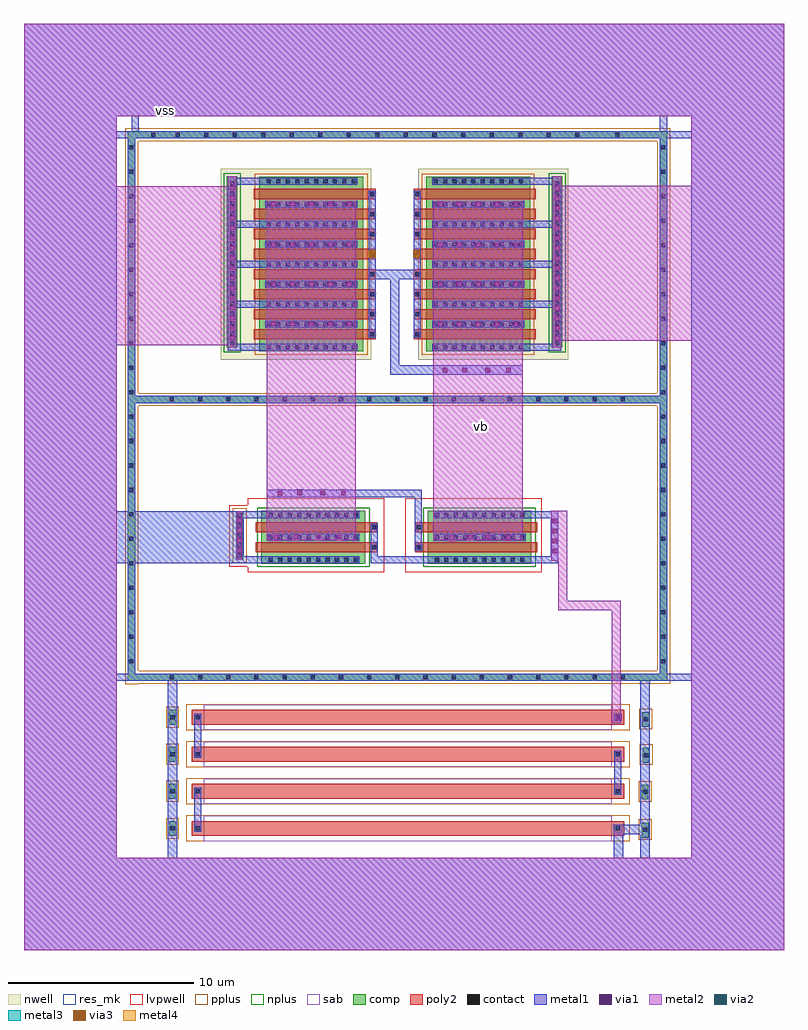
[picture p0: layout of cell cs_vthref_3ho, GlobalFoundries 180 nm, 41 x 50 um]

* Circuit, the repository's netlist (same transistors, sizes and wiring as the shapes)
** sch_path: /home/keropiyo/cs_vthref_3ho.sch
.subckt TOP VSS VDD vb
*.PININFO VSS:B VDD:B vb:O
M4 vb vb VDD VDD pfet_03v3 L=0.56u W=5.6u nf=1 m=8
M3 net2 vb VDD VDD pfet_03v3 L=0.56u W=5.6u nf=1 m=8
M2 vb net2 net1 net1 nfet_03v3_dn L=0.56u W=5.6u nf=1 m=2
M1 net2 net1 VSS VSS nfet_03v3_dn L=0.56u W=5.6u nf=1 m=2
R3 net5 net4 VSS ppolyf_u W=0.8e-6 L=22e-6 m=1
R4 VSS net5 VSS ppolyf_u W=0.8e-6 L=22e-6 m=1
R1 net3 net1 VSS ppolyf_u W=0.8e-6 L=22e-6 m=1
R2 net4 net3 VSS ppolyf_u W=0.8e-6 L=22e-6 m=1
.ends
.end

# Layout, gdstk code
from math import pi, radians
import gdstk
lib = gdstk.Library(unit=1e-6, precision=5e-09)
def R(c, l, rs):  # rectangles x0, y0, x1, y1
    for r in rs: c.add(gdstk.rectangle(r[:2], r[2:], *l))
def A(c, l, x, y, w, h, nx, ny, dx, dy):  # array of equal rectangles
    R(c, l, [(x+i*dx, y+j*dy, x+i*dx+w, y+j*dy+h) for i in range(nx) for j in range(ny)])
def P(c, l, *ps):  # polygons
    for p in ps: c.add(gdstk.Polygon(p, *l))
nwell = (21, 0)
comp = (22, 0)
poly2 = (30, 0)
pplus = (31, 0)
nplus = (32, 0)
contact = (33, 0)
metal1 = (34, 0)
via1 = (35, 0)
metal2 = (36, 0)
via2 = (38, 0)
via3 = (40, 0)
metal3 = (42, 0)
metal4 = (46, 0)
sab = (49, 0)
res_mk = (110, 5)
lvpwell = (204, 0)

cnt = lib.new_cell('CNT')

bgp = lib.new_cell('BGP')
P(bgp, nwell, [(-0.815,-5.15),(-0.815,5.15),(0.82,5.15),(0.82,3.28),(0.82,-5.15)])
R(bgp, comp, [(-0.495,-4.49,0.065,4.735)])
R(bgp, nplus, [(-0.675,-4.75,0.245,4.9)])
A(bgp, contact, -0.325, -4.375, 0.22, 0.22, 1, 17, 0, 0.54)
R(bgp, metal1, [(-0.45,-4.49,0.015,4.735)])
R(bgp, metal2, [(-0.45,-4.49,0.015,4.735)])

via1_ = lib.new_cell('VIA1')

via10 = lib.new_cell('VIA10')
R(via10, via1, [(-0.13,-0.13,0.13,0.13)])

ml1 = lib.new_cell('ML1')
R(ml1, metal1, [(-0.78,-0.19,0.78,0.19)])

ml1_0 = lib.new_cell('ML1_0')
R(ml1_0, metal1, [(-1.01,-0.19,1.015,0.19)])

cnt_g = lib.new_cell('CNT_G')

cnt_g2 = lib.new_cell('CNT_G2')

cnt_g3 = lib.new_cell('CNT_G3')
R(cnt_g3, contact, [(-1.225,14.175,-1.005,14.395)])

via11 = lib.new_cell('VIA11')

m1m2 = lib.new_cell('M1M2')

m1m22 = lib.new_cell('M1M22')

m1m23 = lib.new_cell('M1M23')

m1m24 = lib.new_cell('M1M24')

m1m25 = lib.new_cell('M1M25')

m1m26 = lib.new_cell('M1M26')

m1m27 = lib.new_cell('M1M27')

m1m28 = lib.new_cell('M1M28')

m1m29 = lib.new_cell('M1M29')

m1m30 = lib.new_cell('M1M30')

m1m31 = lib.new_cell('M1M31')

cnt3 = lib.new_cell('CNT3')

cnt4 = lib.new_cell('CNT4')
R(cnt4, contact, [(-0.11,-0.11,0.11,0.11)])

m1m2g = lib.new_cell('M1M2G')
R(m1m2g, metal1, [(-0.5,-0.5,0.5,0.5)])
R(m1m2g, metal2, [(-0.5,-0.5,0.5,0.5)])

m1m2g0 = lib.new_cell('M1M2G0')
R(m1m2g0, metal1, [(-0.5,-0.5,0.5,0.5)])
R(m1m2g0, metal2, [(-0.5,-0.5,0.5,0.5)])

cnt0 = lib.new_cell('CNT0')
R(cnt0, contact, [(-0.11,-0.11,0.11,0.11)])

cs_vthref_3ho = lib.new_cell('cs_vthref_3ho')
R(cs_vthref_3ho, nwell, [(-7.74,-10.13,-1.26,0.17), (1.26,-10.13,7.74,0.17)])
A(cs_vthref_3ho, comp, -12.17, -35.82, 0.36, 0.8, 1, 4, 0, 2)
R(cs_vthref_3ho, comp, [(13.325,-33.855,13.69,-33.055), (13.375,-31.87,13.74,-31.07), (13.355,-29.945,13.72,-29.145), (-7.19,-21.14,-1.59,-20.72), (1.775,-21.14,7.375,-20.72), (-8.555,-20.92,-8.175,-18.3), (-7.19,-20.72,-1.59,-18.7), (1.775,-20.72,7.375,-18.7), (-7.19,-18.7,-1.59,-18.28), (1.775,-18.7,7.375,-18.28), (-7.3,-9.69,-1.7,-9.23), (1.7,-9.69,7.3,-9.23), (-7.3,-9.23,-1.7,-0.73), (1.7,-9.23,7.3,-0.73), (-7.3,-0.73,-1.7,-0.27), (1.7,-0.73,7.3,-0.27)])
P(cs_vthref_3ho, comp, [(13.325,-35.91),(13.325,-35.38),(13.325,-35.11),(13.695,-35.11),(13.695,-35.91)])
A(cs_vthref_3ho, poly2, -10.95, -35.82, 23.32, 0.8, 1, 4, 0, 2)
A(cs_vthref_3ho, poly2, -7.6, -9.04, 6.2, 0.56, 1, 8, 0, 1.08)
A(cs_vthref_3ho, poly2, -1.4, -9.04, 0.38, 0.56, 1, 8, 0, 1.08)
A(cs_vthref_3ho, poly2, 1.02, -9.04, 0.38, 0.56, 1, 8, 0, 1.08)
A(cs_vthref_3ho, poly2, 1.4, -9.04, 6.2, 0.56, 1, 8, 0, 1.08)
R(cs_vthref_3ho, poly2, [(-7.49,-20.53,-1.29,-19.97), (-1.29,-20.53,-0.93,-19.97), (1.115,-20.53,1.475,-19.97), (1.475,-20.53,7.675,-19.97), (-7.49,-19.45,-1.29,-18.89), (-1.29,-19.45,-0.93,-18.89), (1.115,-19.45,1.475,-18.89), (1.475,-19.45,7.675,-18.89)])
A(cs_vthref_3ho, pplus, -11.25, -36.12, 23.92, 1.4, 1, 4, 0, 2)
A(cs_vthref_3ho, pplus, -12.33, -35.98, 0.68, 1.12, 1, 4, 0, 2)
R(cs_vthref_3ho, pplus, [(13.165,-36.035,13.865,-34.92), (13.16,-33.98,13.86,-32.865), (13.21,-31.995,13.91,-30.88), (13.19,-30.07,13.89,-28.955), (-8.745,-21.09,-7.995,-18.14), (-7.54,-9.86,-1.46,-0.1), (1.46,-9.86,7.54,-0.1)])
R(cs_vthref_3ho, nplus, [(-7.43,-21.31,-1.35,-18.11), (1.535,-21.31,7.615,-18.11)])
A(cs_vthref_3ho, contact, -12.1, -35.53, 0.22, 0.22, 1, 4, 0, 2)
A(cs_vthref_3ho, contact, -10.73, -35.53, 0.22, 0.22, 1, 4, 0, 2)
A(cs_vthref_3ho, contact, 11.93, -35.53, 0.22, 0.22, 1, 4, 0, 2)
A(cs_vthref_3ho, contact, -6.795, -21.04, 0.22, 0.22, 10, 3, 0.51, 1.22)
A(cs_vthref_3ho, contact, 2.17, -21.04, 0.22, 0.22, 10, 3, 0.51, 1.22)
A(cs_vthref_3ho, contact, -8.485, -20.805, 0.22, 0.22, 1, 5, 0, 0.54)
A(cs_vthref_3ho, contact, -6.905, -9.57, 0.22, 0.22, 10, 2, 0.51, 1.24)
A(cs_vthref_3ho, contact, 2.095, -9.57, 0.22, 0.22, 10, 2, 0.51, 1.24)
A(cs_vthref_3ho, contact, -1.32, -8.87, 0.22, 0.22, 1, 8, 0, 1.08)
A(cs_vthref_3ho, contact, 1.1, -8.87, 0.22, 0.22, 1, 8, 0, 1.08)
A(cs_vthref_3ho, contact, -6.905, -7.25, 0.22, 0.22, 10, 6, 0.51, 1.08)
A(cs_vthref_3ho, contact, 2.095, -7.25, 0.22, 0.22, 10, 6, 0.51, 1.08)
A(cs_vthref_3ho, contact, -6.905, -0.61, 0.22, 0.22, 10, 1, 0.51, 0)
A(cs_vthref_3ho, contact, 2.095, -0.61, 0.22, 0.22, 10, 1, 0.51, 0)
R(cs_vthref_3ho, contact, [(13.405,-35.61,13.625,-35.39), (13.4,-33.555,13.62,-33.335), (13.45,-31.57,13.67,-31.35), (13.43,-29.65,13.65,-29.43), (-1.22,-20.36,-1,-20.14), (1.185,-20.36,1.405,-20.14), (-1.22,-19.28,-1,-19.06), (1.185,-19.28,1.405,-19.06), (-13.14,1.89,-12.92,2.11), (11.9,1.89,12.12,2.11)])
A(cs_vthref_3ho, metal1, -12.18, -35.61, 0.38, 0.38, 1, 4, 0, 2)
A(cs_vthref_3ho, metal1, -10.81, -35.61, 0.38, 0.38, 1, 4, 0, 2)
A(cs_vthref_3ho, metal1, 11.85, -35.61, 0.38, 0.38, 1, 4, 0, 2)
A(cs_vthref_3ho, metal1, -6.875, -21.12, 4.97, 0.38, 1, 3, 0, 1.22)
A(cs_vthref_3ho, metal1, 2.09, -21.12, 4.97, 0.38, 1, 3, 0, 1.22)
A(cs_vthref_3ho, metal1, -1.4, -8.95, 0.38, 0.38, 1, 8, 0, 1.08)
A(cs_vthref_3ho, metal1, 1.02, -8.95, 0.38, 0.38, 1, 8, 0, 1.08)
A(cs_vthref_3ho, metal1, -6.985, -8.41, 4.97, 0.38, 1, 7, 0, 1.08)
A(cs_vthref_3ho, metal1, 2.015, -8.41, 4.97, 0.38, 1, 7, 0, 1.08)
R(cs_vthref_3ho, metal1, [(13.335,-35.675,13.715,-35.295), (13.33,-33.62,13.71,-33.24), (13.38,-31.635,13.76,-31.255), (13.36,-29.71,13.74,-29.33), (11.84,-29.62,12.24,-29.22), (-15,-21.125,-8.61,-18.3), (-9.01,-21.125,-6.87,-20.745), (7.06,-21.12,8.81,-20.74), (8.425,-20.955,8.81,-18.285), (-8.61,-20.92,-8.145,-18.3), (-1.3,-20.44,-0.92,-20.06), (1.105,-20.44,1.485,-20.06), (2.88,-19.925,3.28,-19.525), (5.93,-19.91,6.33,-19.51), (-6.61,-19.905,-6.21,-19.505), (-4.31,-19.9,-3.91,-19.5), (-3.185,-19.9,-2.785,-19.5), (3.87,-19.9,4.27,-19.5), (-5.55,-19.89,-5.15,-19.49), (4.84,-19.88,5.24,-19.48), (-1.3,-19.36,-0.92,-18.98), (1.105,-19.36,1.485,-18.98), (-9.06,-18.68,-6.875,-18.3), (7.06,-18.68,8.8,-18.3), (-6.385,-17.53,-5.985,-17.13), (-4.085,-17.525,-3.685,-17.125), (-2.96,-17.525,-2.56,-17.125), (-5.325,-17.515,-4.925,-17.115), (2.515,-10.905,2.915,-10.505), (4.815,-10.9,5.215,-10.5), (5.94,-10.9,6.34,-10.5), (3.575,-10.89,3.975,-10.49), (-6.985,-9.65,-2.015,-9.27), (2.015,-9.65,6.985,-9.27), (-1.4,-8.95,-1.02,-1.01), (1.02,-8.95,1.4,-1.01), (-1.415,-4.64,-1.015,-4.24), (0.99,-4.635,1.39,-4.235), (-6.985,-0.69,-2.015,-0.31), (2.015,-0.69,6.985,-0.31)])
A(cs_vthref_3ho, via1, 8.5, -20.58, 0.26, 0.26, 1, 4, 0, 0.54)
A(cs_vthref_3ho, via1, -8.5, -20.545, 0.26, 0.26, 1, 4, 0, 0.54)
A(cs_vthref_3ho, via1, -8.9, -9.095, 0.26, 0.26, 1, 16, 0, 0.54)
A(cs_vthref_3ho, via1, 2.33, -8.35, 0.26, 0.26, 5, 2, 1.02, 2.15)
A(cs_vthref_3ho, via1, -6.67, -8.34, 0.26, 0.26, 5, 2, 1.02, 2.15)
A(cs_vthref_3ho, via1, 2.33, -4.075, 0.26, 0.26, 5, 2, 1.02, 2.2)
A(cs_vthref_3ho, via1, -6.67, -4.065, 0.26, 0.26, 5, 2, 1.02, 2.2)
R(cs_vthref_3ho, via1, [(11.91,-29.55,12.17,-29.29), (2.95,-19.855,3.21,-19.595), (6,-19.84,6.26,-19.58), (-6.54,-19.835,-6.28,-19.575), (-4.24,-19.83,-3.98,-19.57), (-3.115,-19.83,-2.855,-19.57), (3.94,-19.83,4.2,-19.57), (-5.48,-19.82,-5.22,-19.56), (4.91,-19.81,5.17,-19.55), (-6.315,-17.46,-6.055,-17.2), (-4.015,-17.455,-3.755,-17.195), (-2.89,-17.455,-2.63,-17.195), (-5.255,-17.445,-4.995,-17.185), (2.585,-10.835,2.845,-10.575), (4.885,-10.83,5.145,-10.57), (6.01,-10.83,6.27,-10.57), (3.645,-10.82,3.905,-10.56), (-1.345,-4.57,-1.085,-4.31), (1.06,-4.565,1.32,-4.305)])
R(cs_vthref_3ho, metal2, [(11.84,-29.62,12.24,-29.22), (8.445,-20.97,8.81,-18.28), (-8.52,-20.915,-8.22,-18.3), (2.88,-19.925,3.28,-19.525), (5.93,-19.91,6.33,-19.51), (-6.61,-19.905,-6.21,-19.505), (-4.31,-19.9,-3.91,-19.5), (-3.185,-19.9,-2.785,-19.5), (3.87,-19.9,4.27,-19.5), (-5.55,-19.89,-5.15,-19.49), (-6.91,-19.88,-2.095,-1.55), (2.09,-19.88,6.905,-1.555), (4.84,-19.88,5.24,-19.48), (-6.385,-17.53,-5.985,-17.13), (-4.085,-17.525,-3.685,-17.125), (-2.96,-17.525,-2.56,-17.125), (-5.325,-17.515,-4.925,-17.115), (2.515,-10.905,2.915,-10.505), (4.815,-10.9,5.215,-10.5), (5.94,-10.9,6.34,-10.5), (3.575,-10.89,3.975,-10.49), (-15,-9.34,-9.01,-0.765), (8.995,-9.11,16,-0.735), (-1.415,-4.64,-1.015,-4.24), (0.99,-4.635,1.39,-4.235)])
R(cs_vthref_3ho, via2, [(-1.345,-4.57,-1.085,-4.31), (1.06,-4.565,1.32,-4.305)])
R(cs_vthref_3ho, via3, [(-1.345,-4.57,-1.085,-4.31), (1.06,-4.565,1.32,-4.305)])
R(cs_vthref_3ho, metal3, [(-1.415,-4.64,-1.015,-4.24), (0.99,-4.635,1.39,-4.235)])
R(cs_vthref_3ho, metal4, [(-1.415,-4.64,-1.015,-4.24), (0.99,-4.635,1.39,-4.235)])
A(cs_vthref_3ho, sab, -10.29, -36.1, 22, 1.36, 1, 4, 0, 2)
A(cs_vthref_3ho, res_mk, -10.29, -35.82, 22, 0.8, 1, 4, 0, 2)
R(cs_vthref_3ho, lvpwell, [(-7.94,-21.6,-0.56,-17.6), (0.56,-21.6,7.94,-17.6), (-8.92,-21.29,-7.94,-17.995)])
cs_vthref_3ho.add(gdstk.FlexPath([(-18,-40),(-18,6),(19,6),(19,-40),(-20,-40)], 4, ends="flush", simple_path=True, layer=34, datatype=0))  # metal1
cs_vthref_3ho.add(gdstk.FlexPath([(14.5,-27.085),(14.5,2)], 0.38, ends="flush", simple_path=True, layer=34, datatype=0))  # metal1
cs_vthref_3ho.add(gdstk.FlexPath([(14.5,-27.275),(16.005,-27.275)], 0.38, ends="flush", simple_path=True, layer=34, datatype=0))  # metal1
cs_vthref_3ho.add(gdstk.FlexPath([(14.5,-27.275),(-13.49,-27.275)], 0.38, ends="flush", simple_path=True, layer=34, datatype=0))  # metal1
cs_vthref_3ho.add(gdstk.FlexPath([(-13.49,2),(14.69,2)], 0.38, ends="flush", simple_path=True, layer=34, datatype=0))  # metal1
cs_vthref_3ho.add(gdstk.FlexPath([(14.69,2),(16,2)], 0.38, ends="flush", simple_path=True, layer=34, datatype=0))  # metal1
cs_vthref_3ho.add(gdstk.FlexPath([(-13.49,2),(-15,2)], 0.38, ends="flush", simple_path=True, layer=34, datatype=0))  # metal1
cs_vthref_3ho.add(gdstk.FlexPath([(-13.49,-27.275),(-15,-27.275)], 0.38, ends="flush", simple_path=True, layer=34, datatype=0))  # metal1
cs_vthref_3ho.add(gdstk.FlexPath([(14.5,-12.28),(-14.01,-12.28)], 0.38, ends="flush", simple_path=True, layer=34, datatype=0))  # metal1
cs_vthref_3ho.add(gdstk.FlexPath([(-14.2,-27.085),(-14.2,2.19)], 0.38, ends="flush", simple_path=True, layer=34, datatype=0))  # metal1
cs_vthref_3ho.add(gdstk.FlexPath([(-13.995,2.19),(-13.995,3)], 0.38, ends="flush", simple_path=True, layer=34, datatype=0))  # metal1
cs_vthref_3ho.add(gdstk.FlexPath([(14.5,2.19),(14.5,3)], 0.38, ends="flush", simple_path=True, layer=34, datatype=0))  # metal1
cs_vthref_3ho.add(gdstk.FlexPath([(-1.115,-18.985),(-1.115,-20.93),(2.09,-20.93)], 0.38, ends="flush", simple_path=True, layer=34, datatype=0))  # metal1
cs_vthref_3ho.add(gdstk.FlexPath([(-11.99,-27.46),(-11.99,-37.005)], 0.5, ends="flush", simple_path=True, layer=34, datatype=0))  # metal1
cs_vthref_3ho.add(gdstk.FlexPath([(13.505,-27.425),(13.505,-37)], 0.5, ends="flush", simple_path=True, layer=34, datatype=0))  # metal1
cs_vthref_3ho.add(gdstk.FlexPath([(12.265,-35.48),(13.29,-35.48)], 0.5, ends="flush", simple_path=True, layer=34, datatype=0))  # metal1
cs_vthref_3ho.add(gdstk.FlexPath([(12.065,-35.23),(12.065,-37.08)], 0.5, ends="flush", simple_path=True, layer=34, datatype=0))  # metal1
cs_vthref_3ho.add(gdstk.FlexPath([(-1.02,-5.54),(1.02,-5.54)], 0.5, ends="flush", simple_path=True, layer=34, datatype=0))  # metal1
cs_vthref_3ho.add(gdstk.FlexPath([(0,-5.79),(0,-10.69),(6.905,-10.69)], 0.5, ends="flush", simple_path=True, layer=34, datatype=0))  # metal1
cs_vthref_3ho.add(gdstk.FlexPath([(-10.625,-29.61),(-10.625,-31.235)], 0.38, ends="flush", simple_path=True, layer=34, datatype=0))  # metal1
cs_vthref_3ho.add(gdstk.FlexPath([(12.04,-31.61),(12.04,-33.61)], 0.38, ends="flush", simple_path=True, layer=34, datatype=0))  # metal1
cs_vthref_3ho.add(gdstk.FlexPath([(-10.62,-33.61),(-10.62,-35.14),(-10.62,-35.23)], 0.38, ends="flush", simple_path=True, layer=34, datatype=0))  # metal1
cs_vthref_3ho.add(gdstk.FlexPath([(1.275,-20.43),(1.275,-17.35),(-6.9,-17.35)], 0.38, ends="flush", simple_path=True, layer=34, datatype=0))  # metal1
cs_vthref_3ho.add(gdstk.FlexPath([(14.5,2),(14.5,-27.465)], 0.38, ends="flush", simple_path=True, layer=22, datatype=0))  # comp
cs_vthref_3ho.add(gdstk.FlexPath([(14.5,-27.275),(-14.39,-27.275)], 0.38, ends="flush", simple_path=True, layer=22, datatype=0))  # comp
cs_vthref_3ho.add(gdstk.FlexPath([(-14.19,2),(14.69,2)], 0.38, ends="flush", simple_path=True, layer=22, datatype=0))  # comp
cs_vthref_3ho.add(gdstk.FlexPath([(14.5,-12.28),(-14.01,-12.28)], 0.38, ends="flush", simple_path=True, layer=22, datatype=0))  # comp
cs_vthref_3ho.add(gdstk.FlexPath([(14.5,-12.28),(-14.01,-12.28)], 0.38, ends="flush", simple_path=True, layer=22, datatype=0))  # comp
cs_vthref_3ho.add(gdstk.FlexPath([(-14.2,2.19),(-14.2,-27.085)], 0.38, ends="flush", simple_path=True, layer=22, datatype=0))  # comp
cs_vthref_3ho.add(gdstk.FlexPath([(-18,-40),(-18,6),(19,6),(19,-40),(-20,-40)], 4, ends="flush", simple_path=True, layer=36, datatype=0))  # metal2
cs_vthref_3ho.add(gdstk.FlexPath([(9.06,-18.28),(9.06,-23.395),(11.945,-23.395),(11.945,-29.755)], 0.5, ends="flush", simple_path=True, layer=36, datatype=0))  # metal2
cs_vthref_3ho.add(gdstk.FlexPath([(14.5,2.35),(14.5,-27.455)], 0.7, ends="flush", simple_path=True, layer=31, datatype=0))  # pplus
cs_vthref_3ho.add(gdstk.FlexPath([(14.85,-27.275),(-14.55,-27.275)], 0.7, ends="flush", simple_path=True, layer=31, datatype=0))  # pplus
cs_vthref_3ho.add(gdstk.FlexPath([(14.5,-12.28),(-14.01,-12.28)], 0.7, ends="flush", simple_path=True, layer=31, datatype=0))  # pplus
cs_vthref_3ho.add(gdstk.FlexPath([(-14.2,2.19),(-14.2,-27.63)], 0.7, ends="flush", simple_path=True, layer=31, datatype=0))  # pplus
cs_vthref_3ho.add(gdstk.FlexPath([(14.69,2),(-14.55,2)], 0.7, ends="flush", simple_path=True, layer=31, datatype=0))  # pplus
r = gdstk.Reference(cnt, (-8.775,-9.245)); r.repetition = gdstk.Repetition(1, 17, v1=(0,0), v2=(0,0.54)); cs_vthref_3ho.add(r)
cs_vthref_3ho.add(gdstk.Reference(bgp, (-8.56,-4.98)))
cs_vthref_3ho.add(gdstk.Reference(bgp, (8.545,-4.98), rotation=pi, x_reflection=True))
r = gdstk.Reference(via1_, (-8.78,-8.975)); r.repetition = gdstk.Repetition(1, 16, v1=(0,0), v2=(0,0.54)); cs_vthref_3ho.add(r)
cs_vthref_3ho.add(gdstk.Reference(via1_, (8.76,-8.975)))
r = gdstk.Reference(via10, (8.76,-8.975)); r.repetition = gdstk.Repetition(1, 16, v1=(0,0), v2=(0,0.54)); cs_vthref_3ho.add(r)
r = gdstk.Reference(ml1, (-7.765,-7.14)); r.repetition = gdstk.Repetition(2, 3, v1=(15.52,0), v2=(0,2.16)); cs_vthref_3ho.add(r)
r = gdstk.Reference(ml1_0, (-8,-9.46)); r.repetition = gdstk.Repetition(2, 2, v1=(15.98,0), v2=(0,8.96)); cs_vthref_3ho.add(r)
r = gdstk.Reference(cnt_g, (-12,-18.5)); r.repetition = gdstk.Repetition(2, 14, v1=(24,0), v2=(0,1.54)); cs_vthref_3ho.add(r)
r = gdstk.Reference(cnt_g2, (-10.575,-19.01)); r.repetition = gdstk.Repetition(15, 2, v1=(1.54,0), v2=(0,21)); cs_vthref_3ho.add(r)
cs_vthref_3ho.add(gdstk.Reference(cnt, (10.855,-12.545)))
r = gdstk.Reference(cnt_g3, (-10.6,-12.285)); r.repetition = gdstk.Repetition(15, 1, v1=(1.54,0), v2=(0,0)); cs_vthref_3ho.add(r)
cs_vthref_3ho.add(gdstk.Reference(cnt, (-12.28,1.985)))
r = gdstk.Reference(via11, (2.54,-15.845)); r.repetition = gdstk.Repetition(5, 1, v1=(1.02,0), v2=(0,0)); cs_vthref_3ho.add(r)
r = gdstk.Reference(m1m2, (-14.5,-29.5)); r.repetition = gdstk.Repetition(30, 2, v1=(1,0), v2=(0,33)); cs_vthref_3ho.add(r)
r = gdstk.Reference(m1m22, (-14.5,-28.495)); r.repetition = gdstk.Repetition(2, 32, v1=(29,0), v2=(0,1)); cs_vthref_3ho.add(r)
r = gdstk.Reference(m1m23, (-14.5,-33.5)); r.repetition = gdstk.Repetition(30, 2, v1=(1,0), v2=(0,37)); cs_vthref_3ho.add(r)
r = gdstk.Reference(m1m24, (-14.5,-32.5)); r.repetition = gdstk.Repetition(2, 4, v1=(29,0), v2=(0,1)); cs_vthref_3ho.add(r)
r = gdstk.Reference(m1m25, (-14.5,-33.495)); r.repetition = gdstk.Repetition(2, 5, v1=(29,0), v2=(0,1)); cs_vthref_3ho.add(r)
r = gdstk.Reference(m1m26, (-14.5,-34.5)); r.repetition = gdstk.Repetition(18, 2, v1=(1,0), v2=(0,38)); cs_vthref_3ho.add(r)
r = gdstk.Reference(m1m27, (-14.5,-34.5)); r.repetition = gdstk.Repetition(28, 2, v1=(1,0), v2=(0,35)); cs_vthref_3ho.add(r)
r = gdstk.Reference(m1m28, (-14.5,-34.5)); r.repetition = gdstk.Repetition(30, 2, v1=(1,0), v2=(0,38)); cs_vthref_3ho.add(r)
r = gdstk.Reference(m1m29, (-14.5,-37.5)); r.repetition = gdstk.Repetition(30, 2, v1=(1,0), v2=(0,41)); cs_vthref_3ho.add(r)
r = gdstk.Reference(m1m30, (-14.5,-36.5)); r.repetition = gdstk.Repetition(1, 2, v1=(0,0), v2=(40,1)); cs_vthref_3ho.add(r)
r = gdstk.Reference(m1m31, (-14.5,-36.5)); r.repetition = gdstk.Repetition(2, 3, v1=(29,0), v2=(0,1)); cs_vthref_3ho.add(r)
r = gdstk.Reference(cnt3, (-13.3,-26.5)); r.repetition = gdstk.Repetition(2, 19, v1=(26.8,0), v2=(0,1.52)); cs_vthref_3ho.add(r)
r = gdstk.Reference(cnt4, (-12.02,-27.27)); r.repetition = gdstk.Repetition(17, 2, v1=(1.52,0), v2=(0,15)); cs_vthref_3ho.add(r)
cs_vthref_3ho.add(gdstk.Reference(m1m31, (-14.5,-37.505)))
r = gdstk.Reference(m1m2g, (-15.5,-37.5)); r.repetition = gdstk.Repetition(2, 42, v1=(32,0), v2=(0,1)); cs_vthref_3ho.add(r)
r = gdstk.Reference(m1m2g0, (-14.5,-37.5)); r.repetition = gdstk.Repetition(31, 2, v1=(1,0), v2=(0,41)); cs_vthref_3ho.add(r)
r = gdstk.Reference(cnt0, (-14.205,-26.4)); r.repetition = gdstk.Repetition(2, 22, v1=(28.7,0), v2=(0,1.32)); cs_vthref_3ho.add(r)
cs_vthref_3ho.add(gdstk.Label('vss', (-12.35,3.295), layer=34, texttype=10))
cs_vthref_3ho.add(gdstk.Label('vdd', (-13.47,3.315), layer=36, texttype=10))
cs_vthref_3ho.add(gdstk.Label('vb', (4.675,-13.74), layer=36, texttype=10))

lib.write_gds('cs_vthref_3ho.gds')
